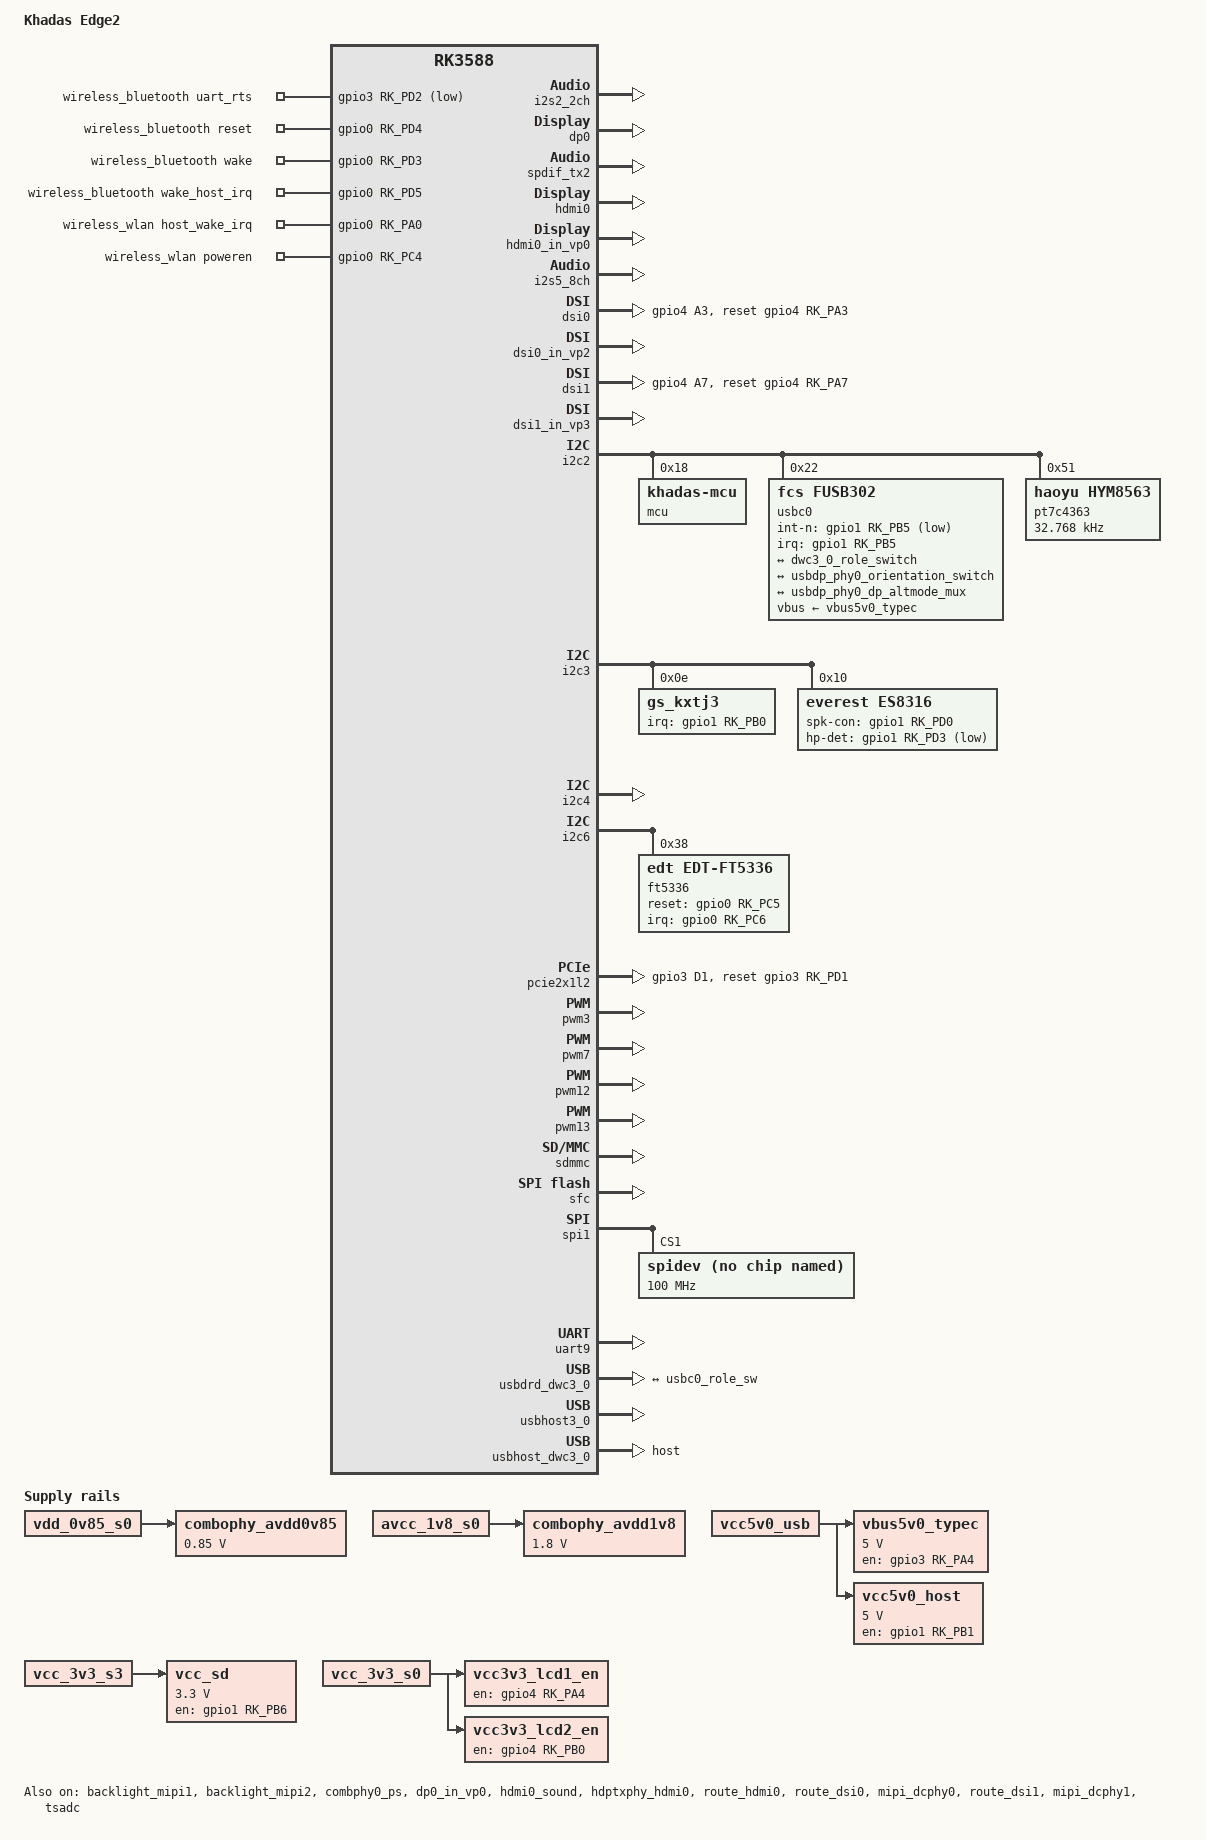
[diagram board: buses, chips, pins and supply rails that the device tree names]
// SPDX-License-Identifier: (GPL-2.0+ OR MIT)
/*
 * Copyright (c) 2022 Wesion Technology Co., Ltd.
 *
 */
/dts-v1/;

#include "dt-bindings/usb/pd.h"
#include "rk3588s.dtsi"
#include "rk3588s-khadas-edge2.dtsi"
#include "rk3588-rk806-single.dtsi"
#include "rk3588-android.dtsi"
#include "kedge2-camera.dtsi"

/ {
	model = "Khadas Edge2";
	compatible = "khadas,edge2", "rockchip,rk3588";

	combophy_avdd0v85: combophy-avdd0v85 {
		compatible = "regulator-fixed";
		regulator-name = "combophy_avdd0v85";
		regulator-boot-on;
		regulator-always-on;
		regulator-min-microvolt = <850000>;
		regulator-max-microvolt = <850000>;
		vin-supply = <&vdd_0v85_s0>;
	};

	combophy_avdd1v8: combophy-avdd1v8 {
		compatible = "regulator-fixed";
		regulator-name = "combophy_avdd1v8";
		regulator-boot-on;
		regulator-always-on;
		regulator-min-microvolt = <1800000>;
		regulator-max-microvolt = <1800000>;
		vin-supply = <&avcc_1v8_s0>;
	};

	dp0_sound: dp0-sound {
		status = "disabled";
		compatible = "rockchip,hdmi";
		rockchip,card-name= "rockchip,dp0";
		rockchip,mclk-fs = <512>;
		rockchip,cpu = <&spdif_tx2>;
		rockchip,codec = <&dp0 1>;
		rockchip,jack-det;
	};

	es8316_sound: es8316-sound {
		status = "okay";
		compatible = "simple-audio-card";
		simple-audio-card,format = "i2s";
		simple-audio-card,mclk-fs = <256>;
		simple-audio-card,name = "rockchip,es8316-codec";
		simple-audio-card,dai-link@0 {
			format = "i2s";
			cpu {
				sound-dai = <&i2s0_8ch>;
			};
			codec {
				sound-dai = <&es8316>;
			};
		};
	};

	bt-sound {
		compatible = "simple-audio-card";
		simple-audio-card,format = "dsp_a";
		simple-audio-card,bitclock-inversion = <1>;
		simple-audio-card,mclk-fs = <256>;
		simple-audio-card,name = "rockchip,bt";
		simple-audio-card,cpu {
				sound-dai = <&i2s2_2ch>;
		};
		simple-audio-card,codec {
				sound-dai = <&bt_sco>;
		};
	};

	bt_sco: bt-sco {
		compatible = "delta,dfbmcs320";
		#sound-dai-cells = <0>;
		status = "okay";
	};

	vbus5v0_typec: vbus5v0-typec {
		compatible = "regulator-fixed";
		regulator-name = "vbus5v0_typec";
		regulator-min-microvolt = <5000000>;
		regulator-max-microvolt = <5000000>;
		enable-active-high;
		gpio = <&gpio3 RK_PA4 GPIO_ACTIVE_HIGH>;
		vin-supply = <&vcc5v0_usb>;
		pinctrl-names = "default";
		pinctrl-0 = <&typec5v_pwren>;
	};

	vcc5v0_host: vcc5v0-host {
		compatible = "regulator-fixed";
		regulator-name = "vcc5v0_host";
		regulator-boot-on;
		regulator-always-on;
		regulator-min-microvolt = <5000000>;
		regulator-max-microvolt = <5000000>;
		enable-active-high;
		gpio = <&gpio1 RK_PB1 GPIO_ACTIVE_HIGH>;
		vin-supply = <&vcc5v0_usb>;
		pinctrl-names = "default";
		pinctrl-0 = <&vcc5v0_host_en>;
	};

	vcc_sd: vcc-sd {
		compatible = "regulator-fixed";
		regulator-boot-on;
		regulator-always-on;
		regulator-name = "vcc_sd";
		regulator-min-microvolt = <3300000>;
		regulator-max-microvolt = <3300000>;
		regulator-ramp-delay = <12500>;
		enable-active-high;
		gpio = <&gpio1 RK_PB6 GPIO_ACTIVE_HIGH>;
		vin-supply = <&vcc_3v3_s3>;
		pinctrl-names = "default";
		pinctrl-0 = <&vcc_sd_en>;
		regulator-state-mem {
		    regulator-off-in-suspend;
		};
	};

	wireless_bluetooth: wireless-bluetooth {
		compatible = "bluetooth-platdata";
		clocks = <&pt7c4363>;
		clock-names = "ext_clock";
		uart_rts_gpios = <&gpio3 RK_PD2 GPIO_ACTIVE_LOW>;
		pinctrl-names = "default", "rts_gpio";
		pinctrl-0 = <&uart9m2_rtsn>, <&bt_gpio>;
		pinctrl-1 = <&uart9_gpios>;
		BT,reset_gpio    = <&gpio0 RK_PD4 GPIO_ACTIVE_HIGH>;
		BT,wake_gpio     = <&gpio0 RK_PD3 GPIO_ACTIVE_HIGH>;
		BT,wake_host_irq = <&gpio0 RK_PD5 GPIO_ACTIVE_HIGH>;
		status = "okay";
	};

	wireless_wlan: wireless-wlan {
		compatible = "wlan-platdata";
		wifi_chip_type = "ap6275p";
		pinctrl-names = "default";
		pinctrl-0 = <&wifi_host_wake_irq>, <&wifi_poweren_gpio>;
		WIFI,host_wake_irq = <&gpio0 RK_PA0 GPIO_ACTIVE_HIGH>;
		WIFI,poweren_gpio = <&gpio0 RK_PC4 GPIO_ACTIVE_HIGH>;
		status = "okay";
	};

	vcc3v3_lcd1_en: vcc3v3-lcd1-en {
		compatible = "regulator-fixed";
		regulator-name = "vcc3v3_lcd1_n";
		gpio = <&gpio4 RK_PA4 GPIO_ACTIVE_HIGH>;
		pinctrl-names = "default";
		pinctrl-0 = <&lcd1_en>;
		enable-active-high;
		regulator-boot-on;
		vin-supply = <&vcc_3v3_s0>;
	};

	vcc3v3_lcd2_en: vcc3v3-lcd2-en {
		compatible = "regulator-fixed";
		regulator-name = "vcc3v3_lcd2_n";
		gpio = <&gpio4 RK_PB0 GPIO_ACTIVE_HIGH>;
		pinctrl-names = "default";
		pinctrl-0 = <&lcd2_en>;
		enable-active-high;
		regulator-boot-on;
		vin-supply = <&vcc_3v3_s0>;
	};
};

&i2s2_2ch {
	status = "okay";
};

&backlight_mipi1 {
	pwms = <&pwm12 0 25000 0>;
	power-supply = <&vcc3v3_lcd1_en>;
	status = "okay";
};

&backlight_mipi2 {
	pwms = <&pwm13 0 25000 0>;
	power-supply = <&vcc3v3_lcd2_en>;
	status = "okay";
};

&combphy0_ps {
	status = "okay";
};

&dp0 {
	status = "okay";
};

&dp0_in_vp0 {
	status = "okay";
};

&dp0_sound{
	status = "okay";
};

&dp0_sound {
	status = "okay";
};

&spdif_tx2 {
	status = "okay";
};

&hdptxphy0 {
	/* Single Vdiff Training Table for power reduction (optional) */
	training-table = /bits/ 8 <
		/* voltage swing 0, pre-emphasis 0->3 */
		0x0d 0x00 0x00 0x00 0x00 0x00
		0x0d 0x00 0x00 0x00 0x00 0x00
		0x0d 0x00 0x00 0x00 0x00 0x00
		0x0d 0x00 0x00 0x00 0x00 0x00
		/* voltage swing 1, pre-emphasis 0->2 */
		0x0d 0x00 0x00 0x00 0x00 0x00
		0x0d 0x00 0x00 0x00 0x00 0x00
		0x0d 0x00 0x00 0x00 0x00 0x00
		/* voltage swing 2, pre-emphasis 0->1 */
		0x0d 0x00 0x00 0x00 0x00 0x00
		0x0d 0x00 0x00 0x00 0x00 0x00
		/* voltage swing 3, pre-emphasis 0 */
		0x0d 0x00 0x00 0x00 0x00 0x00
	>;
	status = "disabled";
};

&hdmi0 {
	enable-gpios = <&gpio4 RK_PB1 GPIO_ACTIVE_HIGH>;
	status = "okay";
};

&hdmi0_in_vp0 {
	status = "okay";
};

&hdmi0_sound {
	status = "okay";
};

&hdptxphy_hdmi0 {
	status = "okay";
};

&hdptxphy_hdmi_clk0 {
	status = "okay";
};

&route_hdmi0 {
	status = "okay";
};

&i2s5_8ch {
	status = "okay";
};

&dsi0 {
       status = "okay";
       reset-delay-ms = <20>;
       reset-gpios = <&gpio4 RK_PA3 GPIO_ACTIVE_HIGH>;
       pinctrl-names = "default";
       pinctrl-0 = <&lcd_rst1_gpio>;
};

&dsi0_in_vp2 {
    status = "okay";
};

&dsi0_in_vp3 {
    status = "disabled";
};

&route_dsi0 {
       status = "okay";
       connect = <&vp2_out_dsi0>;
};

&mipi_dcphy0 {
       status = "okay";
};

&dsi0_panel {
       status = "okay";
       power-supply = <&vcc3v3_lcd1_en>;
};

&dsi1 {
	status = "okay";
	reset-delay-ms = <20>;
	reset-gpios = <&gpio4 RK_PA7 GPIO_ACTIVE_HIGH>;
	pinctrl-names = "default";
	pinctrl-0 = <&lcd_rst2_gpio>;
};

&dsi1_in_vp2 {
       status = "disabled";
};

&dsi1_in_vp3 {
       status = "okay";
};

&route_dsi1 {
       status = "okay";
       connect = <&vp3_out_dsi1>;
};

&mipi_dcphy1 {
       status = "okay";
};

&dsi1_panel {
       status = "okay";
       power-supply = <&vcc3v3_lcd2_en>;
};

&i2c2 {
	pinctrl-names = "default";
	pinctrl-0 = <&i2c2m0_xfer>;
	status = "okay";

	mcu: mcu@18 {
		compatible = "khadas-mcu";
		status = "okay";
		reg = <0x18>;
		fan,trig_temp_level0 = <50>;
		fan,trig_temp_level1 = <60>;
		fan,trig_temp_level2 = <70>;
		fan,trig_temp_level3 = <80>;
		hwver = "EDGE2.V11";

	};

	usbc0: fusb302@22 {
		compatible = "fcs,fusb302";
		reg = <0x22>;
		interrupt-parent = <&gpio1>;
		interrupts = <RK_PB5 IRQ_TYPE_LEVEL_LOW>;
		int-n-gpios = <&gpio1 RK_PB5 GPIO_ACTIVE_LOW>;
		pinctrl-names = "default";
		pinctrl-0 = <&usbc0_int>;
		vbus-supply = <&vbus5v0_typec>;
		status = "okay";

		ports {
			#address-cells = <1>;
			#size-cells = <0>;

			port@0 {
				reg = <0>;
				usbc0_role_sw: endpoint@0 {
					remote-endpoint = <&dwc3_0_role_switch>;
				};
			};
		};

		usb_con: connector {
			compatible = "usb-c-connector";
			label = "USB-C";
			data-role = "dual";
			power-role = "dual";
			try-power-role = "sink";
			op-sink-microwatt = <1000000>;
			sink-pdos =
				<PDO_FIXED(5000, 3000, PDO_FIXED_USB_COMM)>;
			source-pdos =
				<PDO_FIXED(5000, 3000, PDO_FIXED_USB_COMM)>;

			altmodes {
				#address-cells = <1>;
				#size-cells = <0>;

				altmode@0 {
					reg = <0>;
					svid = <0xff01>;
					vdo = <0xffffffff>;
				};
			};

			ports {
				#address-cells = <1>;
				#size-cells = <0>;

				port@0 {
					reg = <0>;
					usbc0_orien_sw: endpoint {
						remote-endpoint = <&usbdp_phy0_orientation_switch>;
					};
				};

				port@1 {
					reg = <1>;
					dp_altmode_mux: endpoint {
						remote-endpoint = <&usbdp_phy0_dp_altmode_mux>;
					};
				};
			};
		};
	};

	pt7c4363: pt7c4363@51 {
		compatible = "haoyu,hym8563";
		reg = <0x51>;
		#clock-cells = <0>;
		clock-frequency = <32768>;
		clock-output-names = "pt7c4363";
		wakeup-source;
	};
};

&i2c3 {
	status = "okay";

	gs_kxtj3: gs_kxtj3@e {
		compatible = "gs_kxtj3";
		reg = <0x0e>;
		irq-gpio = <&gpio1 RK_PB0 IRQ_TYPE_EDGE_RISING>;
		irq_enable = <0>;
		poll_delay_ms = <30>;
		type = <SENSOR_TYPE_ACCEL>;
		layout = <0>;
		status = "okay";
	};

	es8316: es8316@10 {
		status = "okay";
		#sound-dai-cells = <0>;
		compatible = "everest,es8316";
		reg = <0x10>;
		clocks = <&cru I2S0_8CH_MCLKOUT>;
		clock-names = "mclk";
		assigned-clocks = <&cru I2S0_8CH_MCLKOUT>;
		assigned-clock-rates = <12288000>;
		pinctrl-names = "default","hp_det","spk_con";
		pinctrl-0 = <&i2s0_mclk>,<&hp_det>,<&spk_con>;
		spk-con-gpio = <&gpio1 RK_PD0 GPIO_ACTIVE_HIGH>;
		hp-det-gpio = <&gpio1 RK_PD3 GPIO_ACTIVE_LOW>;
	};
};

&i2c4 {
	pinctrl-names = "default";
	pinctrl-0 = <&i2c4m3_xfer>;
	status = "okay";
};

&i2c5 {
	status = "disabled";
};

&i2c6 {
	status = "okay";
	pinctrl-names = "default";
	pinctrl-0 = <&i2c6m0_xfer>;

	ft5336@38 {
		compatible = "edt,edt-ft5336", "ft5x06";
		reg = <0x38>;
		interrupt-parent = <&gpio0>;
		interrupts = <RK_PC6 IRQ_TYPE_EDGE_FALLING>;
		reset-gpio = <&gpio0 RK_PC5 GPIO_ACTIVE_HIGH>;
		pinctrl-names = "default";
		pinctrl-0 = <&tp_rst_gpio>;
		status = "okay";
	};
};

&pcie2x1l2 {
	reset-gpios = <&gpio3 RK_PD1 GPIO_ACTIVE_HIGH>;
	pinctrl-names = "default";
	pinctrl-0 = <&pcie2x1l2_gpio>;
	rockchip,skip-scan-in-resume;
	status = "okay";
};

&pinctrl {
	audio {
		hp_det: hp-det {
			rockchip,pins = <1 RK_PD3 RK_FUNC_GPIO &pcfg_pull_none>;
		};
		spk_con: spk-con {
			rockchip,pins = <1 RK_PD0 RK_FUNC_GPIO &pcfg_pull_none>;
		};
	};

	wdt {
		wdt_gpio: wdt-gpio {
			rockchip,pins = <0 RK_PB0 RK_FUNC_GPIO &pcfg_pull_none>;
		};
	};

	pcie {
		pcie2x1l2_gpio: pcie2x1l2-gpio {
			rockchip,pins = <3 RK_PD1 RK_FUNC_GPIO &pcfg_pull_none>;
		};
	};

	lcd {
		lcd_rst1_gpio: lcd-rst1-gpio {
			rockchip,pins = <4 RK_PA3 RK_FUNC_GPIO &pcfg_pull_up>;
		};
		lcd_rst2_gpio: lcd-rst2-gpio {
			rockchip,pins = <4 RK_PA7 RK_FUNC_GPIO &pcfg_pull_up>;
		};
		lcd1_en: lcd1-en {
			rockchip,pins = <4 RK_PA4 RK_FUNC_GPIO &pcfg_pull_up>;
		};
		lcd2_en: lcd2-en {
			rockchip,pins = <4 RK_PB0 RK_FUNC_GPIO &pcfg_pull_up>;
		};
	};

	tp {
		tp_rst_gpio: tp-rst-gpio {
			rockchip,pins = <0 RK_PC5 RK_FUNC_GPIO &pcfg_pull_none>;
		};
	};

	usb {
		vcc5v0_host_en: vcc5v0-host-en {
			rockchip,pins = <1 RK_PB1 RK_FUNC_GPIO &pcfg_pull_none>;
		};
	};

	vcc_sd {
		vcc_sd_en: vcc-sd-en {
			rockchip,pins =
				<1 RK_PB6 RK_FUNC_GPIO &pcfg_pull_up>;
		};
	};

	usb-typec {
		usbc0_int: usbc0-int {
			rockchip,pins = <1 RK_PB5 RK_FUNC_GPIO &pcfg_pull_up>;
		};

		typec5v_pwren: typec5v-pwren {
			rockchip,pins = <3 RK_PA4 RK_FUNC_GPIO &pcfg_pull_none>;
		};
	};

	wireless-bluetooth {
		uart9_gpios: uart9-gpios {
			rockchip,pins = <3 RK_PD2 RK_FUNC_GPIO &pcfg_pull_none>;
		};

		bt_gpio: bt-gpio {
			rockchip,pins =
				<0 RK_PD4 RK_FUNC_GPIO &pcfg_pull_none>,
				<0 RK_PD3 RK_FUNC_GPIO &pcfg_pull_up>,
				<0 RK_PD5 RK_FUNC_GPIO &pcfg_pull_down>;
		};
	};

	wireless-wlan {
		wifi_host_wake_irq: wifi-host-wake-irq {
			rockchip,pins = <0 RK_PA0 RK_FUNC_GPIO &pcfg_pull_down>;
		};

		wifi_poweren_gpio: wifi-poweren-gpio {
			rockchip,pins = <0 RK_PC4 RK_FUNC_GPIO &pcfg_pull_up>;
		};
	};
};

&pwm3 {
	compatible = "rockchip,remotectl-pwm";
	pinctrl-names = "default";
	pinctrl-0 = <&pwm3m3_pins>;
	remote_pwm_id = <3>;
	handle_cpu_id = <1>;
	remote_support_psci = <0>;
	status = "okay";

	ir_key1 {
		rockchip,usercode = <0x4040>;
		rockchip,key_table =
			<0xf2   KEY_REPLY>,
			<0xba   KEY_BACK>,
			<0xf4   KEY_UP>,
			<0xf1   KEY_DOWN>,
			<0xef   KEY_LEFT>,
			<0xee   KEY_RIGHT>,
			<0xbd   KEY_HOME>,
			<0xea   KEY_VOLUMEUP>,
			<0xe3   KEY_VOLUMEDOWN>,
			<0xe2   KEY_SEARCH>,
			<0xb2   KEY_POWER>,
			<0xbc   KEY_MUTE>,
			<0xec   KEY_MENU>,
			<0xbf   0x190>,
			<0xe0   0x191>,
			<0xe1   0x192>,
			<0xe9   183>,
			<0xe6   248>,
			<0xe8   185>,
			<0xe7   186>,
			<0xf0   388>,
			<0xbe   0x175>;
	};

	ir_key2 {
		rockchip,usercode = <0xff00>;
		rockchip,key_table =
			<0xf9   KEY_HOME>,
			<0xbf   KEY_BACK>,
			<0xfb   KEY_MENU>,
			<0xaa   KEY_REPLY>,
			<0xb9   KEY_UP>,
			<0xe9   KEY_DOWN>,
			<0xb8   KEY_LEFT>,
			<0xea   KEY_RIGHT>,
			<0xeb   KEY_VOLUMEDOWN>,
			<0xef   KEY_VOLUMEUP>,
			<0xf7   KEY_MUTE>,
			<0xe7   KEY_POWER>,
			<0xfc   KEY_POWER>,
			<0xa9   KEY_VOLUMEDOWN>,
			<0xa8   KEY_PLAYPAUSE>,
			<0xe0   KEY_VOLUMEDOWN>,
			<0xa5   KEY_VOLUMEDOWN>,
			<0xab   183>,
			<0xb7   388>,
			<0xe8   388>,
			<0xf8   184>,
			<0xaf   185>,
			<0xed   KEY_VOLUMEDOWN>,
			<0xee   186>,
			<0xb3   KEY_VOLUMEDOWN>,
			<0xf1   KEY_VOLUMEDOWN>,
			<0xf2   KEY_VOLUMEDOWN>,
			<0xf3   KEY_SEARCH>,
			<0xb4   KEY_VOLUMEDOWN>,
			<0xa4   KEY_SETUP>,
			<0xbe   KEY_SEARCH>;
	};

	ir_key3 {
		rockchip,usercode = <0x1dcc>;
		rockchip,key_table =
			<0xee   KEY_REPLY>,
			<0xf0   KEY_BACK>,
			<0xf8   KEY_UP>,
			<0xbb   KEY_DOWN>,
			<0xef   KEY_LEFT>,
			<0xed   KEY_RIGHT>,
			<0xfc   KEY_HOME>,
			<0xf1   KEY_VOLUMEUP>,
			<0xfd   KEY_VOLUMEDOWN>,
			<0xb7   KEY_SEARCH>,
			<0xff   KEY_POWER>,
			<0xf3   KEY_MUTE>,
			<0xbf   KEY_MENU>,
			<0xf9   0x191>,
			<0xf5   0x192>,
			<0xb3   388>,
			<0xbe   KEY_1>,
			<0xba   KEY_2>,
			<0xb2   KEY_3>,
			<0xbd   KEY_4>,
			<0xf9   KEY_5>,
			<0xb1   KEY_6>,
			<0xfc   KEY_7>,
			<0xf8   KEY_8>,
			<0xb0   KEY_9>,
			<0xb6   KEY_0>,
			<0xb5   KEY_BACKSPACE>;
	};
};

&pwm7 {
	pinctrl-0 = <&pwm7m0_pins>;
	status = "okay";
};

&pwm12 {
	pinctrl-0 = <&pwm12m1_pins>;
	status = "okay";
};

&pwm13 {
	pinctrl-0 = <&pwm13m1_pins>;
	status = "okay";
};

&sdmmc {
	status = "okay";
};

&sfc {
	pinctrl-names = "default";
	pinctrl-0 = <&fspim2_pins>;
	status = "okay";
};

&spi1 {
	status = "okay";
	pinctrl-names = "default";
	pinctrl-0 = <&spi1m1_cs0 &spi1m1_pins>;
	spidev@1 {
		compatible = "rockchip,spidev";
		reg = <1>;
		spi-max-frequency = <100000000>;
		status = "okay";
	};
};

&tsadc {
	status = "okay";
};

&reboot_mode {
	mode-reboot_test = <BOOT_REBOOT_TEST>;
};

&u2phy0_otg {
	rockchip,typec-vbus-det;
};

&u2phy2_host {
	phy-supply = <&vcc5v0_host>;
};

&u2phy3_host {
	phy-supply = <&vcc5v0_host>;
};

&uart9 {
	status = "okay";
	pinctrl-names = "default";
	pinctrl-0 = <&uart9m2_xfer &uart9m2_ctsn>;
};

&usbdp_phy0 {
	orientation-switch;
	svid = <0xff01>;
	sbu1-dc-gpios = <&gpio4 RK_PA0 GPIO_ACTIVE_HIGH>;
	sbu2-dc-gpios = <&gpio4 RK_PA1 GPIO_ACTIVE_HIGH>;

	port {
		#address-cells = <1>;
		#size-cells = <0>;
		usbdp_phy0_orientation_switch: endpoint@0 {
			reg = <0>;
			remote-endpoint = <&usbc0_orien_sw>;
		};

		usbdp_phy0_dp_altmode_mux: endpoint@1 {
			reg = <1>;
			remote-endpoint = <&dp_altmode_mux>;
		};
	};
};

&usbdrd_dwc3_0 {
	usb-role-switch;
	port {
		#address-cells = <1>;
		#size-cells = <0>;
		dwc3_0_role_switch: endpoint@0 {
			reg = <0>;
			remote-endpoint = <&usbc0_role_sw>;
		};
	};
};

&usbhost3_0 {
	status = "okay";
};

&usbhost_dwc3_0 {
	dr_mode = "host";
	status = "okay";
};
